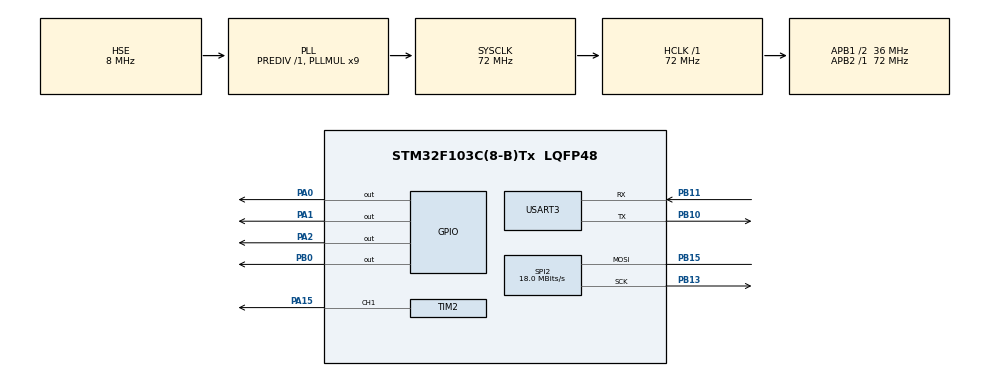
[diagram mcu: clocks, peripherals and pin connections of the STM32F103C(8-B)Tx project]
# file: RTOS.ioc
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FREERTOS.BinarySemaphores01=SensorSem,Dynamic,NULL;ServoSem,Dynamic,NULL;DataSem,Dynamic,NULL;IRQSem,Dynamic,NULL
FREERTOS.Tasks01=Task1,2,128,Task_Sensor,Default,NULL,Dynamic,NULL,NULL;Task2,1,128,Task_Servo,Default,NULL,Dynamic,NULL,NULL;Task3,0,128,Task_Display,Default,NULL,Dynamic,NULL,NULL;Task4,-1,128,Task_Data,Default,NULL,Dynamic,NULL,NULL
Mcu.Family=STM32F1
Mcu.Name=STM32F103C(8-B)Tx
Mcu.Package=LQFP48
NVIC.PriorityGroup=NVIC_PRIORITYGROUP_4
NVIC.TIM1_UP_IRQn=true\:15\:0\:false\:false\:true\:false\:false\:true\:true
NVIC.TimeBase=TIM1_UP_IRQn
NVIC.TimeBaseIP=TIM1
NVIC.USART3_IRQn=true\:5\:0\:false\:false\:true\:true\:true\:true\:true
PA0-WKUP.GPIO_PuPd=GPIO_PULLUP
PA0-WKUP.Signal=GPIO_Output
PA1.GPIO_PuPd=GPIO_PULLUP
PA1.Signal=GPIO_Output
PA13.Mode=Serial_Wire
PA13.Signal=SYS_JTMS-SWDIO
PA14.Mode=Serial_Wire
PA14.Signal=SYS_JTCK-SWCLK
PA15.Signal=S_TIM2_CH1_ETR
PA2.GPIO_PuPd=GPIO_PULLUP
PA2.Signal=GPIO_Output
PB0.Signal=GPIO_Output
PB10.Mode=Asynchronous
PB10.Signal=USART3_TX
PB11.Mode=Asynchronous
PB11.Signal=USART3_RX
PB13.Mode=Simplex_Bidirectional_Master
PB13.Signal=SPI2_SCK
PB15.Mode=Simplex_Bidirectional_Master
PB15.Signal=SPI2_MOSI
PD0-OSC_IN.Mode=HSE-External-Oscillator
PD0-OSC_IN.Signal=RCC_OSC_IN
PD1-OSC_OUT.Mode=HSE-External-Oscillator
PD1-OSC_OUT.Signal=RCC_OSC_OUT
ProjectManager.HeapSize=0x200
ProjectManager.StackSize=0x400
ProjectManager.TargetToolchain=Makefile
RCC.AHBFreq_Value=72000000
RCC.APB1CLKDivider=RCC_HCLK_DIV2
RCC.APB1Freq_Value=36000000
RCC.APB1TimFreq_Value=72000000
RCC.APB2Freq_Value=72000000
RCC.APB2TimFreq_Value=72000000
RCC.HCLKFreq_Value=72000000
RCC.PLLMUL=RCC_PLL_MUL9
RCC.PLLSourceVirtual=RCC_PLLSOURCE_HSE
RCC.SYSCLKFreq_VALUE=72000000
RCC.SYSCLKSource=RCC_SYSCLKSOURCE_PLLCLK
RCC.USBFreq_Value=72000000
SH.S_TIM2_CH1_ETR.0=TIM2_CH1,PWM Generation1 CH1
SPI2.CalculateBaudRate=18.0 MBits/s
SPI2.Direction=SPI_DIRECTION_1LINE
SPI2.Mode=SPI_MODE_MASTER
SPI2.VirtualType=VM_MASTER
TIM2.Channel-PWM\ Generation1\ CH1=TIM_CHANNEL_1
TIM2.Period=1000-1
TIM2.Prescaler=1444-1
TIM3.Prescaler=72-1
USART3.VirtualMode=VM_ASYNC
VP_FREERTOS_VS_CMSIS_V1.Mode=CMSIS_V1
VP_SYS_VS_tim1.Mode=TIM1
VP_TIM2_VS_ClockSourceINT.Mode=Internal
VP_TIM3_VS_ClockSourceINT.Mode=Internal
board=custom

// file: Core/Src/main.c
/* USER CODE BEGIN Header */
/**
 ******************************************************************************
 * @file           : main.c
 * @brief          : Main program body
 ******************************************************************************
 * @attention
 *
 * Copyright (c) 2023 STMicroelectronics.
 * All rights reserved.
 *
 * This software is licensed under terms that can be found in the LICENSE file
 * in the root directory of this software component.
 * If no LICENSE file comes with this software, it is provided AS-IS.
 *
 ******************************************************************************
 */
/* USER CODE END Header */
#include "main.h"
#include "cmsis_os.h"

/* USER CODE BEGIN Includes */
#include "string.h"
#include "stdio.h"
#include "stdlib.h"
#include "math.h"
#include "st7735.h"
#include "dht22.h"
/* USER CODE END Includes */

 SPI_HandleTypeDef hspi2;

TIM_HandleTypeDef htim2;
TIM_HandleTypeDef htim3;

UART_HandleTypeDef huart3;

osThreadId Task1Handle;
osThreadId Task2Handle;
osThreadId Task3Handle;
osThreadId Task4Handle;
osSemaphoreId SensorSemHandle;
osSemaphoreId ServoSemHandle;
osSemaphoreId DataSemHandle;
osSemaphoreId IRQSemHandle;
/* USER CODE BEGIN PV */
enum
{
  Mode_auto,
  Mode_manual
};
volatile int Mode = Mode_auto;

uint8_t Rx_data;
char buffer_data[50] = {0};
volatile int Rx_index = 0;

//example
int temp = 30;
int humi = 90;

char buf_sensor[20] = {0};
char buf_temp[20] = {0};
char buf_humi[20] = {0};

int count = 25;
char rota[20] = {0};
char threshold[20] = {0};
char label_thres[10] = {0};
char str_thres[5] = {0};
int angle;

int PC_rota;
float PC_threshold;
/* USER CODE END PV */

void SystemClock_Config(void);
static void MX_GPIO_Init(void);
static void MX_USART3_UART_Init(void);
static void MX_SPI2_Init(void);
static void MX_TIM2_Init(void);
static void MX_TIM3_Init(void);
void Task_Sensor(void const * argument);
void Task_Servo(void const * argument);
void Task_Display(void const * argument);
void Task_Data(void const * argument);

/* USER CODE BEGIN 0 */
void log_data(char *buf)
{
  HAL_UART_Transmit(&huart3, (uint8_t *)buf, strlen(buf), 100);
}

void HAL_UART_RxCpltCallback(UART_HandleTypeDef *huart)
{
  if (huart == &huart3)
  {
    if (Rx_data == 13)
    {
      buffer_data[Rx_index] = '\0';
      Rx_index = 0;
      if (strcmp(buffer_data, "manual") == 0)
      {
        Mode = Mode_manual;
      }
      if (strcmp(buffer_data, "auto") == 0)
      {
        Mode = Mode_auto;
      }
      osSemaphoreRelease(IRQSemHandle);
    }
    else
    {
      buffer_data[Rx_index] = (char)Rx_data;
      Rx_index++;
      // log_data((char*)Rx_data);
    }
    HAL_UART_Receive_IT(&huart3, &Rx_data, 1);
  }
}
/* USER CODE END 0 */

int main(void)
{

  /* MCU Configuration--------------------------------------------------------*/

  /* Reset of all peripherals, Initializes the Flash interface and the Systick. */
  HAL_Init();

  /* Configure the system clock */
  SystemClock_Config();

  /* Initialize all configured peripherals */
  MX_GPIO_Init();
  MX_USART3_UART_Init();
  MX_SPI2_Init();
  MX_TIM2_Init();
  MX_TIM3_Init();
  /* USER CODE BEGIN 2 */
  HAL_UART_Receive_IT(&huart3, &Rx_data, 1);
  /* USER CODE END 2 */

  /* Create the semaphores(s) */
  /* definition and creation of SensorSem */
  osSemaphoreDef(SensorSem);
  SensorSemHandle = osSemaphoreCreate(osSemaphore(SensorSem), 1);

  /* definition and creation of ServoSem */
  osSemaphoreDef(ServoSem);
  ServoSemHandle = osSemaphoreCreate(osSemaphore(ServoSem), 1);

  /* definition and creation of DataSem */
  osSemaphoreDef(DataSem);
  DataSemHandle = osSemaphoreCreate(osSemaphore(DataSem), 1);

  /* definition and creation of IRQSem */
  osSemaphoreDef(IRQSem);
  IRQSemHandle = osSemaphoreCreate(osSemaphore(IRQSem), 1);

  /* Create the thread(s) */
  /* definition and creation of Task1 */
  osThreadDef(Task1, Task_Sensor, osPriorityHigh, 0, 128);
  Task1Handle = osThreadCreate(osThread(Task1), NULL);

  /* definition and creation of Task2 */
  osThreadDef(Task2, Task_Servo, osPriorityAboveNormal, 0, 128);
  Task2Handle = osThreadCreate(osThread(Task2), NULL);

  /* definition and creation of Task3 */
  osThreadDef(Task3, Task_Display, osPriorityNormal, 0, 128);
  Task3Handle = osThreadCreate(osThread(Task3), NULL);

  /* definition and creation of Task4 */
  osThreadDef(Task4, Task_Data, osPriorityBelowNormal, 0, 128);
  Task4Handle = osThreadCreate(osThread(Task4), NULL);

  /* Start scheduler */
  osKernelStart();

  /* We should never get here as control is now taken by the scheduler */
  /* Infinite loop */
  while (1)
  {

  }
}

void SystemClock_Config(void)
{
  RCC_OscInitTypeDef RCC_OscInitStruct = {0};
  RCC_ClkInitTypeDef RCC_ClkInitStruct = {0};

  /** Initializes the RCC Oscillators according to the specified parameters
  * in the RCC_OscInitTypeDef structure.
  */
  RCC_OscInitStruct.OscillatorType = RCC_OSCILLATORTYPE_HSE;
  RCC_OscInitStruct.HSEState = RCC_HSE_ON;
  RCC_OscInitStruct.HSEPredivValue = RCC_HSE_PREDIV_DIV1;
  RCC_OscInitStruct.HSIState = RCC_HSI_ON;
  RCC_OscInitStruct.PLL.PLLState = RCC_PLL_ON;
  RCC_OscInitStruct.PLL.PLLSource = RCC_PLLSOURCE_HSE;
  RCC_OscInitStruct.PLL.PLLMUL = RCC_PLL_MUL9;
  if (HAL_RCC_OscConfig(&RCC_OscInitStruct) != HAL_OK)
  {
    Error_Handler();
  }

  /** Initializes the CPU, AHB and APB buses clocks
  */
  RCC_ClkInitStruct.ClockType = RCC_CLOCKTYPE_HCLK|RCC_CLOCKTYPE_SYSCLK
                              |RCC_CLOCKTYPE_PCLK1|RCC_CLOCKTYPE_PCLK2;
  RCC_ClkInitStruct.SYSCLKSource = RCC_SYSCLKSOURCE_PLLCLK;
  RCC_ClkInitStruct.AHBCLKDivider = RCC_SYSCLK_DIV1;
  RCC_ClkInitStruct.APB1CLKDivider = RCC_HCLK_DIV2;
  RCC_ClkInitStruct.APB2CLKDivider = RCC_HCLK_DIV1;

  if (HAL_RCC_ClockConfig(&RCC_ClkInitStruct, FLASH_LATENCY_2) != HAL_OK)
  {
    Error_Handler();
  }
}

static void MX_SPI2_Init(void)
{

  /* SPI2 parameter configuration*/
  hspi2.Instance = SPI2;
  hspi2.Init.Mode = SPI_MODE_MASTER;
  hspi2.Init.Direction = SPI_DIRECTION_1LINE;
  hspi2.Init.DataSize = SPI_DATASIZE_8BIT;
  hspi2.Init.CLKPolarity = SPI_POLARITY_LOW;
  hspi2.Init.CLKPhase = SPI_PHASE_1EDGE;
  hspi2.Init.NSS = SPI_NSS_SOFT;
  hspi2.Init.BaudRatePrescaler = SPI_BAUDRATEPRESCALER_2;
  hspi2.Init.FirstBit = SPI_FIRSTBIT_MSB;
  hspi2.Init.TIMode = SPI_TIMODE_DISABLE;
  hspi2.Init.CRCCalculation = SPI_CRCCALCULATION_DISABLE;
  hspi2.Init.CRCPolynomial = 10;
  if (HAL_SPI_Init(&hspi2) != HAL_OK)
  {
    Error_Handler();
  }

}

static void MX_TIM2_Init(void)
{

  TIM_ClockConfigTypeDef sClockSourceConfig = {0};
  TIM_MasterConfigTypeDef sMasterConfig = {0};
  TIM_OC_InitTypeDef sConfigOC = {0};

  htim2.Instance = TIM2;
  htim2.Init.Prescaler = 1444-1;
  htim2.Init.CounterMode = TIM_COUNTERMODE_UP;
  htim2.Init.Period = 1000-1;
  htim2.Init.ClockDivision = TIM_CLOCKDIVISION_DIV1;
  htim2.Init.AutoReloadPreload = TIM_AUTORELOAD_PRELOAD_DISABLE;
  if (HAL_TIM_Base_Init(&htim2) != HAL_OK)
  {
    Error_Handler();
  }
  sClockSourceConfig.ClockSource = TIM_CLOCKSOURCE_INTERNAL;
  if (HAL_TIM_ConfigClockSource(&htim2, &sClockSourceConfig) != HAL_OK)
  {
    Error_Handler();
  }
  if (HAL_TIM_PWM_Init(&htim2) != HAL_OK)
  {
    Error_Handler();
  }
  sMasterConfig.MasterOutputTrigger = TIM_TRGO_RESET;
  sMasterConfig.MasterSlaveMode = TIM_MASTERSLAVEMODE_DISABLE;
  if (HAL_TIMEx_MasterConfigSynchronization(&htim2, &sMasterConfig) != HAL_OK)
  {
    Error_Handler();
  }
  sConfigOC.OCMode = TIM_OCMODE_PWM1;
  sConfigOC.Pulse = 0;
  sConfigOC.OCPolarity = TIM_OCPOLARITY_HIGH;
  sConfigOC.OCFastMode = TIM_OCFAST_DISABLE;
  if (HAL_TIM_PWM_ConfigChannel(&htim2, &sConfigOC, TIM_CHANNEL_1) != HAL_OK)
  {
    Error_Handler();
  }
  HAL_TIM_MspPostInit(&htim2);

}

static void MX_TIM3_Init(void)
{

  TIM_ClockConfigTypeDef sClockSourceConfig = {0};
  TIM_MasterConfigTypeDef sMasterConfig = {0};

  htim3.Instance = TIM3;
  htim3.Init.Prescaler = 72-1;
  htim3.Init.CounterMode = TIM_COUNTERMODE_UP;
  htim3.Init.Period = 65535;
  htim3.Init.ClockDivision = TIM_CLOCKDIVISION_DIV1;
  htim3.Init.AutoReloadPreload = TIM_AUTORELOAD_PRELOAD_DISABLE;
  if (HAL_TIM_Base_Init(&htim3) != HAL_OK)
  {
    Error_Handler();
  }
  sClockSourceConfig.ClockSource = TIM_CLOCKSOURCE_INTERNAL;
  if (HAL_TIM_ConfigClockSource(&htim3, &sClockSourceConfig) != HAL_OK)
  {
    Error_Handler();
  }
  sMasterConfig.MasterOutputTrigger = TIM_TRGO_RESET;
  sMasterConfig.MasterSlaveMode = TIM_MASTERSLAVEMODE_DISABLE;
  if (HAL_TIMEx_MasterConfigSynchronization(&htim3, &sMasterConfig) != HAL_OK)
  {
    Error_Handler();
  }

}

static void MX_USART3_UART_Init(void)
{

  huart3.Instance = USART3;
  huart3.Init.BaudRate = 115200;
  huart3.Init.WordLength = UART_WORDLENGTH_8B;
  huart3.Init.StopBits = UART_STOPBITS_1;
  huart3.Init.Parity = UART_PARITY_NONE;
  huart3.Init.Mode = UART_MODE_TX_RX;
  huart3.Init.HwFlowCtl = UART_HWCONTROL_NONE;
  huart3.Init.OverSampling = UART_OVERSAMPLING_16;
  if (HAL_UART_Init(&huart3) != HAL_OK)
  {
    Error_Handler();
  }

}

static void MX_GPIO_Init(void)
{
  GPIO_InitTypeDef GPIO_InitStruct = {0};

  /* GPIO Ports Clock Enable */
  __HAL_RCC_GPIOD_CLK_ENABLE();
  __HAL_RCC_GPIOA_CLK_ENABLE();
  __HAL_RCC_GPIOB_CLK_ENABLE();

  /*Configure GPIO pin Output Level */
  HAL_GPIO_WritePin(GPIOA, GPIO_PIN_0|GPIO_PIN_1|GPIO_PIN_2, GPIO_PIN_RESET);

  /*Configure GPIO pin Output Level */
  HAL_GPIO_WritePin(GPIOB, GPIO_PIN_0, GPIO_PIN_RESET);

  /*Configure GPIO pins : PA0 PA1 PA2 */
  GPIO_InitStruct.Pin = GPIO_PIN_0|GPIO_PIN_1|GPIO_PIN_2;
  GPIO_InitStruct.Mode = GPIO_MODE_OUTPUT_PP;
  GPIO_InitStruct.Pull = GPIO_PULLUP;
  GPIO_InitStruct.Speed = GPIO_SPEED_FREQ_LOW;
  HAL_GPIO_Init(GPIOA, &GPIO_InitStruct);

  /*Configure GPIO pin : PB0 */
  GPIO_InitStruct.Pin = GPIO_PIN_0;
  GPIO_InitStruct.Mode = GPIO_MODE_OUTPUT_PP;
  GPIO_InitStruct.Pull = GPIO_NOPULL;
  GPIO_InitStruct.Speed = GPIO_SPEED_FREQ_LOW;
  HAL_GPIO_Init(GPIOB, &GPIO_InitStruct);

}

void Task_Sensor(void const * argument)
{
  /* USER CODE BEGIN 5 */
  /* Infinite loop */
  for (;;)
  {
    log_data("task sensor\n");
    //read sensor
    osSemaphoreRelease(SensorSemHandle);
    osDelay(1000);
  }

  /* USER CODE END 5 */
}

void Task_Servo(void const * argument)
{
  /* USER CODE BEGIN Task_Servo */
  /* Infinite loop */
  for (;;)
  {
    if (osSemaphoreWait(SensorSemHandle, osWaitForever) == osOK|| osSemaphoreWait(DataSemHandle, osWaitForever)==osOK)
    {
      log_data("task servo\n");
      if (Mode == Mode_auto)
      {
        log_data("task servo mode auto\n");
        if (temp > 30)
        {
          TIM2->CCR1 = 25;
          // sprintf(rota, "Rota: %d  ", 0);
          // log_data(rota);
          // log_data("\n");
          ST7735_WriteString(0, 3 * 10 * 3, rota, Font_11x18, ST7735_GREEN, ST7735_BLACK);
        }
        //>30C -> close curtain
        else
        {
          TIM2->CCR1 = 125;
          // sprintf(rota, "Rota: %d  ", 180);
          // log_data(rota);
          // log_data("\n");
          ST7735_WriteString(0, 3 * 10 * 3, rota, Font_11x18, ST7735_GREEN, ST7735_BLACK);
        }
      }
      if (Mode == Mode_manual)
      {
        log_data("task servo mode manual\n");
        TIM2->CCR1 = (int)((PC_rota + 45) / 1.8);
      }
      osSemaphoreRelease(ServoSemHandle);
    }
    osDelay(500);
  }
  /* USER CODE END Task_Servo */
}

void Task_Display(void const * argument)
{
  /* USER CODE BEGIN Task_Display */
  /* Infinite loop */
  for (;;)
  {
    osSemaphoreWait(ServoSemHandle, osWaitForever);
    log_data("Task Display\n");
    sprintf(buf_temp, "Temp: %d C", temp);
    sprintf(buf_humi, "Humi: %d ", humi);
    sprintf(rota, "Rota: %d  ", (int)(1.8*(TIM2->CCR1) - 45));
    log_data(buf_temp);
    log_data("\n");
    log_data(buf_humi);
    log_data("\n");
    ST7735_WriteString(0, 30, buf_temp, Font_11x18, ST7735_RED, ST7735_BLACK);
    ST7735_WriteString(0, 3 * 10 * 2, strcat(buf_humi, "%"), Font_11x18, ST7735_RED, ST7735_BLACK);
    ST7735_WriteString(0, 3 * 10 * 3, rota, Font_11x18, ST7735_GREEN, ST7735_BLACK);
    osDelay(500);
  }
  /* USER CODE END Task_Display */
}

void Task_Data(void const * argument)
{
  /* USER CODE BEGIN Task_Data */
  /* Infinite loop */
  for (;;)
  {
    osSemaphoreWait(IRQSemHandle, osWaitForever);
    log_data("task uart\n");
    if (strncmp(buffer_data, "Rota", 4) == 0)
    {
      log_data("check data rota\n");
      // Parse string
      sscanf(buffer_data, "%*[^0-9]%d", &PC_rota);
      // // control Servo
      sprintf(rota, "Rota: %d  \n", PC_rota);
      log_data("\nPC control ");
      log_data(rota);
      // ST7735_WriteString(0, 3 * 10 * 3, rota, Font_11x18, ST7735_GREEN, ST7735_BLACK);
    }
    if (strncmp(buffer_data, "Threshold", strlen("Threshold")) == 0)
    {
      log_data("check data thresh\n");
      char str_buf[] = "Thres: ";
      // Parse string
      sscanf(buffer_data, "%s%s", label_thres, str_thres);
      // control Servo
      PC_threshold = atof(str_thres);
      strcat(str_buf, str_thres);
      log_data("\nPC set Threshold: ");
      log_data(str_thres);
      // ST7735_WriteString(0, 3 * 10 * 4, str_buf, Font_11x18, ST7735_GREEN, ST7735_BLACK);
    }
    memset(buffer_data, '\0', sizeof(buffer_data));
    osSemaphoreRelease(DataSemHandle);
    osDelay(1);
  }
  /* USER CODE END Task_Data */
}

void HAL_TIM_PeriodElapsedCallback(TIM_HandleTypeDef *htim)
{
  if (htim->Instance == TIM1) {
    HAL_IncTick();
  }
}

void Error_Handler(void)
{
  __disable_irq();
  while (1)
  {
  }
}
